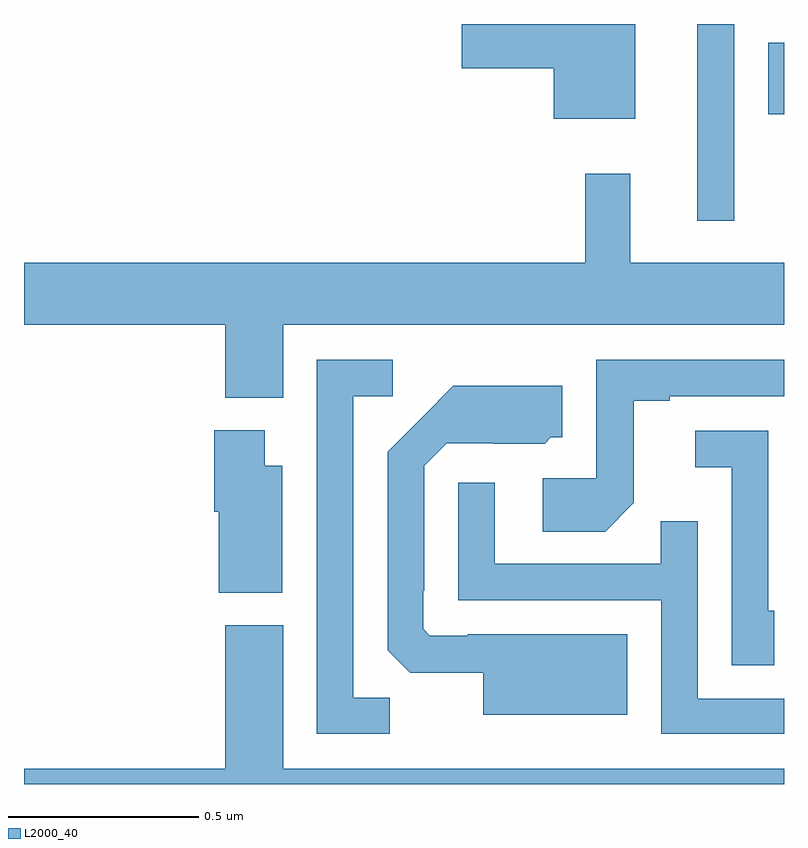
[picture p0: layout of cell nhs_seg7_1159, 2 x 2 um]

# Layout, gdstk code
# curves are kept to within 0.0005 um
import gdstk
lib = gdstk.Library(unit=1e-6, precision=1e-09)
def R(c, l, rs):  # rectangles x0, y0, x1, y1
    for r in rs: c.add(gdstk.rectangle(r[:2], r[2:], *l))
def P(c, l, *ps):  # polygons
    for p in ps: c.add(gdstk.Polygon(p, *l))
L2000_40 = (2000, 40)

nhs_seg7_1159 = lib.new_cell('nhs_seg7_1159')
R(nhs_seg7_1159, L2000_40, [(127.772,1075.482,127.869,1076), (127.958,1075.763,128,1075.951)])
P(nhs_seg7_1159, L2000_40, [(127.609,1076),(127.152,1076),(127.152,1075.883),(127.394,1075.883),(127.394,1075.751),(127.609,1075.751)],
  [(126.682,1075.208),(128,1075.208),(128,1075.372),(127.595,1075.372),(127.595,1075.606),(127.477,1075.606),(127.477,1075.372),(126,1075.372),(126,1075.208),(126.53,1075.208),(126.53,1075.016),(126.682,1075.016)],
  [(126.963,1074.227),(126.867,1074.227),(126.867,1075.02),(126.97,1075.02),(126.97,1075.116),(126.771,1075.116),(126.771,1074.132),(126.963,1074.132)],
  [(127.605,1074.74),(127.605,1075.008),(127.699,1075.008),(127.699,1075.02),(128,1075.02),(128,1075.116),(127.506,1075.116),(127.506,1074.804),(127.365,1074.804),(127.365,1074.664),(127.529,1074.664)],
  [(127.588,1074.394),(127.168,1074.394),(127.168,1074.39),(127.068,1074.39),(127.05,1074.408),(127.05,1074.508),(127.053,1074.508),(127.053,1074.837),(127.113,1074.897),(127.236,1074.897),(127.236,1074.896),(127.37,1074.896),(127.386,1074.912),(127.417,1074.912),(127.417,1075.048),(127.129,1075.048),(126.957,1074.874),(126.957,1074.352),(127.016,1074.293),(127.208,1074.293),(127.208,1074.182),(127.588,1074.182)],
  [(126.679,1074.838),(126.634,1074.838),(126.634,1074.931),(126.5,1074.931),(126.5,1074.717),(126.512,1074.717),(126.512,1074.503),(126.679,1074.503)],
  [(127.974,1074.456),(127.959,1074.456),(127.959,1074.93),(127.767,1074.93),(127.767,1074.833),(127.863,1074.833),(127.863,1074.313),(127.974,1074.313)],
  [(128,1074.225),(127.773,1074.225),(127.773,1074.692),(127.675,1074.692),(127.675,1074.579),(127.239,1074.579),(127.239,1074.793),(127.143,1074.793),(127.143,1074.483),(127.677,1074.483),(127.677,1074.132),(128,1074.132)],
  [(128,1074.04),(126.682,1074.04),(126.682,1074.418),(126.53,1074.418),(126.53,1074.04),(126,1074.04),(126,1074),(128,1074)])

lib.write_gds('nhs_seg7_1159.gds')
